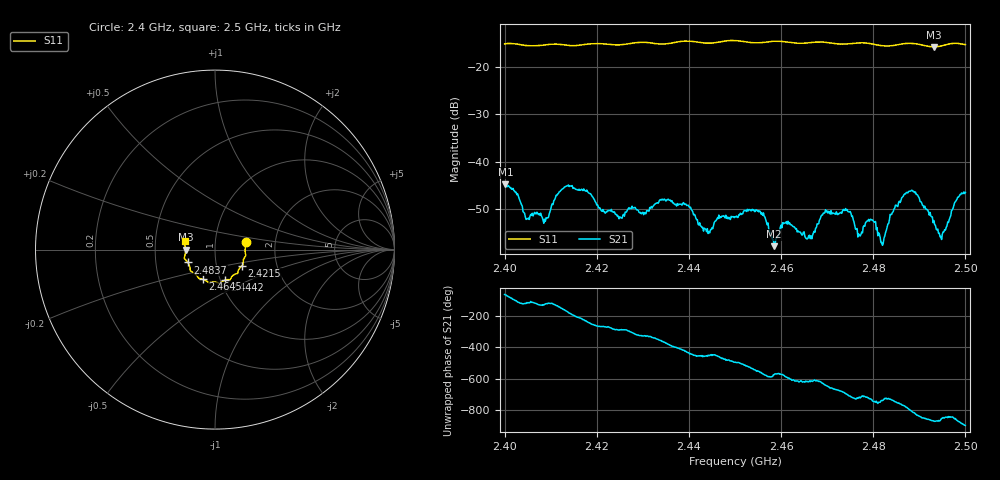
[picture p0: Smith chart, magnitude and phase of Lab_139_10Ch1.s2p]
# Hz S RI R 50
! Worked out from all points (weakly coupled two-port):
!   601 points, 2.4 GHz to 2.5 GHz, reference 50 ohm
!   highest |S21| = -44.79 dB at 2.4002 GHz (marker M1); lowest = -57.9 dB at 2.4585 GHz (marker M2)
!   lowest |S11| = -15.7 dB at 2.4932 GHz (marker M3), VSWR 1.39, Z = 35.9 - j0.0671 ohm
!   |S11| at or under -10 dB: start of sweep to end of sweep
!   S12 and S22 are empty: the file has one direction only
!   S11 on the Smith chart (normalised r, x): 2.4 GHz: 1.41, +0.12; 2.4215 GHz: 1.33, -0.25; 2.4442 GHz: 1.05, -0.37; 2.4645 GHz: 0.83, -0.29; 2.4837 GHz: 0.73, -0.11; 2.5 GHz: 0.71, +0.07
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2.4e9  0.1712 0.0404  0.003 -0.00489  0 0  0 0
2.400167e9  0.172 0.0401  0.00281 -0.00503  0 0  0 0
2.408833e9  0.1697 -0.0248  -0.00113 -0.00205  0 0  0 0
2.412667e9  0.1675 -0.0406  -0.00462 -0.00233  0 0  0 0
2.416667e9  0.1565 -0.0697  -0.00425 0.00282  0 0  0 0
2.4215e9  0.1512 -0.0896  -0.000293 0.00295  0 0  0 0
2.433333e9  0.1083 -0.1385  0.00356 0.000738  0 0  0 0
2.444167e9  0.0565 -0.1694  1.34e-06 -0.00174  0 0  0 0
2.45e9  0.0253 -0.1891  -0.00184 -0.00187  0 0  0 0
2.455e9  -0.00801 -0.1803  -0.00296 0.000699  0 0  0 0
2.4585e9  -0.0305 -0.1851  -0.00104 0.00074  0 0  0 0
2.4645e9  -0.0658 -0.166  -0.000338 0.00165  0 0  0 0
2.466667e9  -0.0826 -0.162  -0.000336 0.00149  0 0  0 0
2.47e9  -0.0938 -0.1562  0.000961 0.00286  0 0  0 0
2.48e9  -0.1384 -0.1064  0.00211 -0.00107  0 0  0 0
2.482e9  -0.1423 -0.0896  0.00121 -0.000499  0 0  0 0
2.483333e9  -0.1491 -0.0751  0.00219 -0.000333  0 0  0 0
2.483667e9  -0.1512 -0.0716  0.00269 -0.000622  0 0  0 0
2.488333e9  -0.1714 -0.0472  -0.000111 -0.00499  0 0  0 0
2.493167e9  -0.1635 -0.000908  -0.00217 -0.000987  0 0  0 0
2.495e9  -0.1669 0.021  -0.00122 -0.0012  0 0  0 0
2.5e9  -0.1652 0.0506  -0.00473 0.000231  0 0  0 0
